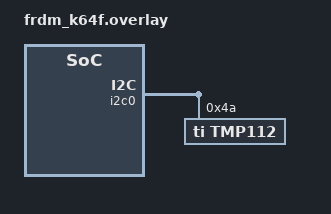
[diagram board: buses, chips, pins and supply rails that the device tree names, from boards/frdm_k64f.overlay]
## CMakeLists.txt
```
# SPDX-License-Identifier: Apache-2.0

cmake_minimum_required(VERSION 3.20.0)
find_package(Zephyr REQUIRED HINTS $ENV{ZEPHYR_BASE})
project(tmp112)

FILE(GLOB app_sources src/*.c)
target_sources(app PRIVATE ${app_sources})
```

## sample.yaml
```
sample:
  name: TMP112 Sensor Sample
tests:
  sample.sensor.tmp112:
    harness: console
    tags: sensors
    depends_on: i2c
    filter: dt_compat_enabled("ti,tmp112")
    harness_config:
      type: one_line
      regex:
        - "temp is (.*)"
      fixture: fixture_i2c_tmp112
```

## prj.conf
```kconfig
CONFIG_STDOUT_CONSOLE=y
CONFIG_I2C=y
CONFIG_SENSOR=y
CONFIG_ASSERT=y
```

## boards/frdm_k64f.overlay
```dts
/*
 * Copyright (c) 2019, Linaro Ltd.
 *
 * SPDX-License-Identifier: Apache-2.0
 */

&i2c0 {
	tmp112@4a {
		compatible = "ti,tmp112";
		reg = <0x4a>;
	};
};
```

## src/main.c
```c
/*
 * Copyright (c) 2016 Firmwave
 *
 * SPDX-License-Identifier: Apache-2.0
 */

#include <zephyr/kernel.h>
#include <zephyr/device.h>
#include <zephyr/drivers/sensor.h>
#include <zephyr/sys/printk.h>
#include <zephyr/sys/__assert.h>

static void do_main(const struct device *dev)
{
	int ret;
	struct sensor_value temp_value;
	struct sensor_value attr;

	attr.val1 = 150;
	attr.val2 = 0;
	ret = sensor_attr_set(dev, SENSOR_CHAN_AMBIENT_TEMP,
			      SENSOR_ATTR_FULL_SCALE, &attr);
	if (ret) {
		printk("sensor_attr_set failed ret %d\n", ret);
		return;
	}

	attr.val1 = 8;
	attr.val2 = 0;
	ret = sensor_attr_set(dev, SENSOR_CHAN_AMBIENT_TEMP,
			      SENSOR_ATTR_SAMPLING_FREQUENCY, &attr);
	if (ret) {
		printk("sensor_attr_set failed ret %d\n", ret);
		return;
	}

	while (1) {
		ret = sensor_sample_fetch(dev);
		if (ret) {
			printk("sensor_sample_fetch failed ret %d\n", ret);
			return;
		}

		ret = sensor_channel_get(dev, SENSOR_CHAN_AMBIENT_TEMP, &temp_value);
		if (ret) {
			printk("sensor_channel_get failed ret %d\n", ret);
			return;
		}

		printk("temp is %d (%d micro)\n", temp_value.val1,
		       temp_value.val2);

		k_sleep(K_MSEC(1000));
	}
}

int main(void)
{
	const struct device *const dev = DEVICE_DT_GET_ANY(ti_tmp112);

	__ASSERT(dev != NULL, "Failed to get device binding");
	__ASSERT(device_is_ready(dev), "Device %s is not ready", dev->name);
	printk("device is %p, name is %s\n", dev, dev->name);

	do_main(dev);
	return 0;
}
```
